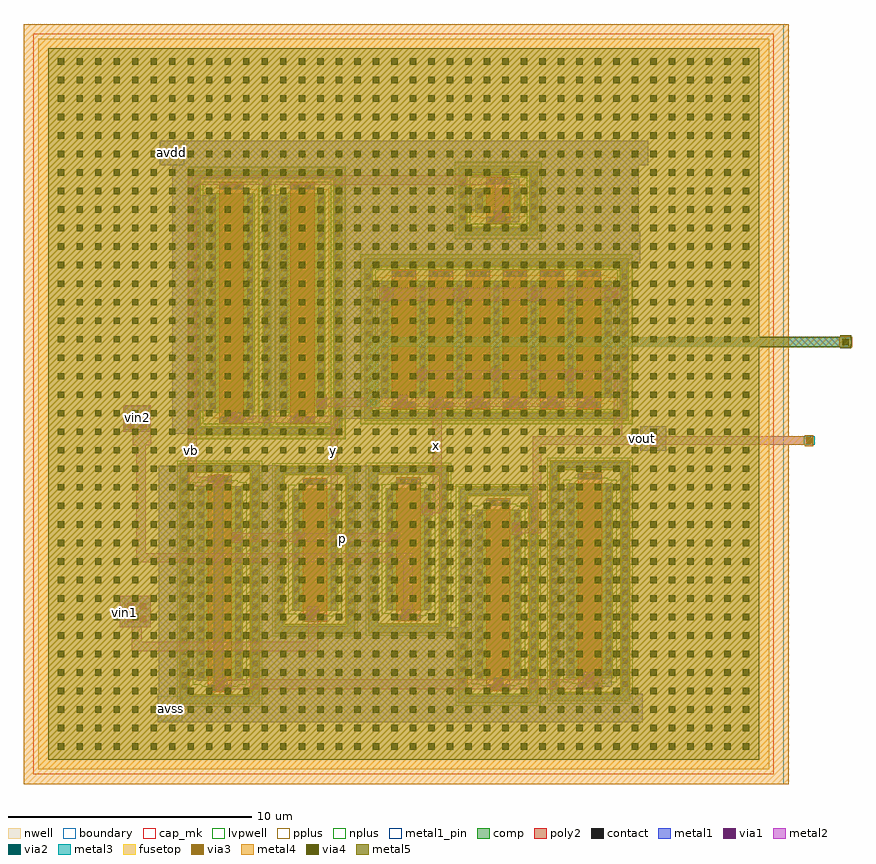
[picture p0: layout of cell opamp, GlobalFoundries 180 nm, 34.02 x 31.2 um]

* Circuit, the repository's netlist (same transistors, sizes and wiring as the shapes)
** sch_path: /foss/designs/libs/snn_analog/sch/opamp/opamp.sch
.subckt opamp avdd avss vin1 vin2 vout
*.PININFO avdd:B avss:B vin1:I vin2:I vout:O
M1 y vin1 net1 avss nfet_03v3 L=1u W=5u nf=1
M2 x vin2 net1 avss nfet_03v3 L=1u W=5u nf=1
M3 y y avdd avdd pfet_03v3 L=1u W=9u nf=1
M4 x y avdd avdd pfet_03v3 L=1u W=9u nf=1
M5 net1 vb avss avss nfet_03v3 L=1u W=8u nf=1
M6 vout x avdd avdd pfet_03v3 L=1u W=28.8u nf=6
M7 vout vb avss avss nfet_03v3 L=1u W=7u nf=1
M8 vb vb avss avss nfet_03v3 L=1u W=8u nf=1
M9 vb vb avdd avdd pfet_03v3 L=1u W=1u nf=1
XC1 x vout cap_mim_2f0fF c_width=30e-6 c_length=30e-6
.ends

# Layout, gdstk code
import gdstk
lib = gdstk.Library(unit=1e-6, precision=1e-09)
def R(c, l, rs):  # rectangles x0, y0, x1, y1
    for r in rs: c.add(gdstk.rectangle(r[:2], r[2:], *l))
def A(c, l, x, y, w, h, nx, ny, dx, dy):  # array of equal rectangles
    R(c, l, [(x+i*dx, y+j*dy, x+i*dx+w, y+j*dy+h) for i in range(nx) for j in range(ny)])
boundary = (0, 0)
nwell = (21, 0)
comp = (22, 0)
poly2 = (30, 0)
pplus = (31, 0)
nplus = (32, 0)
contact = (33, 0)
metal1 = (34, 0)
metal1_pin = (34, 10)
via1 = (35, 0)
metal2 = (36, 0)
via2 = (38, 0)
via3 = (40, 0)
via4 = (41, 0)
metal3 = (42, 0)
metal4 = (46, 0)
fusetop = (75, 0)
metal5 = (81, 0)
cap_mk = (117, 5)
lvpwell = (204, 0)

opamp = lib.new_cell('opamp')
R(opamp, boundary, [(0,0,31.2,31.2), (6.6,3.48,9.5,12.98), (18.035,3.515,20.935,12.015), (21.795,3.59,24.695,13.09), (10.515,6.37,13.415,12.87), (14.345,6.39,17.245,12.89), (7.09,14.5,9.99,25), (9.99,14.5,12.89,25), (14.16,15.1,24.66,21.4), (18.035,22.7,20.935,25.2)])
R(opamp, nwell, [(6.79,14.2,10.29,25.3), (9.69,14.2,13.19,25.3), (13.86,14.8,24.96,21.7), (17.735,22.4,21.235,25.5)])
R(opamp, comp, [(6.42,3.3,9.68,3.66), (17.855,3.335,21.115,3.695), (21.615,3.41,24.875,3.77), (6.42,3.66,6.78,12.8), (9.32,3.66,9.68,12.8), (17.855,3.695,18.215,11.835), (20.755,3.695,21.115,11.835), (21.615,3.77,21.975,12.91), (24.515,3.77,24.875,12.91), (7.11,4.23,8.99,12.23), (18.545,4.265,20.425,11.265), (22.305,4.34,24.185,12.34), (10.335,6.19,13.595,6.55), (14.165,6.21,17.425,6.57), (10.335,6.55,10.695,12.69), (13.235,6.55,13.595,12.69), (14.165,6.57,14.525,12.71), (17.065,6.57,17.425,12.71), (11.025,7.12,12.905,12.12), (14.855,7.14,16.735,12.14), (17.855,11.835,21.115,12.195), (10.335,12.69,13.595,13.05), (14.165,12.71,17.425,13.07), (6.42,12.8,9.68,13.16), (21.615,12.91,24.875,13.27), (6.91,14.32,10.17,14.68), (9.81,14.32,13.07,14.68), (6.91,14.68,7.27,24.82), (9.81,14.68,10.17,24.82), (9.81,14.68,10.17,24.82), (12.71,14.68,13.07,24.82), (13.98,14.92,24.84,15.28), (7.6,15.25,9.48,24.25), (10.5,15.25,12.38,24.25), (13.98,15.28,14.34,21.22), (24.48,15.28,24.84,21.22), (14.67,15.85,24.15,20.65), (13.98,21.22,24.84,21.58), (17.855,22.52,21.115,22.88), (17.855,22.88,18.215,25.02), (20.755,22.88,21.115,25.02), (18.545,23.45,20.425,24.45), (6.91,24.82,10.17,25.18), (9.81,24.82,13.07,25.18), (17.855,25.02,21.115,25.38)])
A(opamp, poly2, 15.11, 15.39, 1, 5.72, 6, 1, 1.52, 0)
R(opamp, poly2, [(7.55,3.77,8.55,12.69), (18.985,3.805,19.985,11.725), (22.745,3.88,23.745,12.8), (11.465,6.66,12.465,12.58), (15.295,6.68,16.295,12.6), (8.04,14.79,9.04,24.71), (10.94,14.79,11.94,24.71), (18.985,22.99,19.985,24.91)])
R(opamp, pplus, [(6.4,3.28,9.7,3.68), (17.835,3.315,21.135,3.715), (21.595,3.39,24.895,3.79), (6.4,3.68,6.81,3.785), (9.29,3.68,9.7,3.785), (17.835,3.715,18.245,3.82), (20.725,3.715,21.135,3.82), (6.39,3.785,6.81,12.675), (9.29,3.785,9.71,12.675), (21.595,3.79,22.005,3.895), (24.485,3.79,24.895,3.895), (17.825,3.82,18.245,11.71), (20.725,3.82,21.145,11.71), (21.585,3.895,22.005,12.785), (24.485,3.895,24.905,12.785), (10.315,6.17,13.615,6.57), (14.145,6.19,17.445,6.59), (17.445,6.19,17.825,6.695), (10.315,6.57,10.725,6.675), (13.205,6.57,13.615,6.675), (14.145,6.59,14.555,6.695), (17.035,6.59,17.445,6.695), (10.305,6.675,10.725,12.565), (13.205,6.675,13.625,12.565), (14.135,6.695,14.555,12.585), (17.035,6.695,17.455,12.585), (17.455,6.695,17.825,11.71), (17.455,11.71,17.835,12.215), (17.835,11.71,18.245,11.815), (20.725,11.71,21.135,11.815), (17.835,11.815,21.135,12.215), (10.315,12.565,10.725,12.67), (13.205,12.565,13.615,12.67), (14.145,12.585,14.555,12.69), (17.035,12.585,17.445,12.69), (10.315,12.67,13.615,13.07), (6.4,12.675,6.81,12.78), (9.29,12.675,9.7,12.78), (14.145,12.69,17.445,13.09), (6.4,12.78,9.7,13.18), (21.595,12.785,22.005,12.89), (24.485,12.785,24.895,12.89), (21.595,12.89,24.895,13.29), (7.81,15.02,9.27,15.09), (10.71,15.02,12.17,15.09), (7.44,15.09,9.64,24.41), (10.34,15.09,12.54,24.41), (14.88,15.62,23.94,15.69), (14.51,15.69,24.31,20.81), (14.88,20.81,23.94,20.88), (18.755,23.22,20.215,23.29), (18.385,23.29,20.585,24.61), (7.81,24.41,9.27,24.48), (10.71,24.41,12.17,24.48), (18.755,24.61,20.215,24.68)])
R(opamp, nplus, [(7.32,4,8.78,4.07), (18.755,4.035,20.215,4.105), (6.95,4.07,9.15,12.39), (18.385,4.105,20.585,11.425), (22.515,4.11,23.975,4.18), (22.145,4.18,24.345,12.5), (11.235,6.89,12.695,6.96), (15.065,6.91,16.525,6.98), (10.865,6.96,13.065,12.28), (14.695,6.98,16.895,12.3), (18.755,11.425,20.215,11.495), (11.235,12.28,12.695,12.35), (15.065,12.3,16.525,12.37), (7.32,12.39,8.78,12.46), (22.515,12.5,23.975,12.57), (6.75,14.16,10.33,14.79), (9.65,14.16,13.23,14.79), (13.82,14.76,25,15.39), (6.75,14.79,7.38,24.71), (9.65,14.79,10.28,24.71), (9.7,14.79,10.33,24.71), (12.6,14.79,13.23,24.71), (13.82,15.39,14.45,21.11), (24.37,15.39,25,21.11), (13.82,21.11,25,21.74), (17.695,22.36,21.275,22.99), (17.695,22.99,18.325,24.91), (20.645,22.99,21.275,24.91), (6.75,24.71,10.33,25.34), (9.65,24.71,13.23,25.34), (17.695,24.91,21.275,25.54)])
A(opamp, contact, 6.49, 3.89, 0.22, 0.22, 1, 19, 0, 0.47)
A(opamp, contact, 9.39, 3.89, 0.22, 0.22, 1, 19, 0, 0.47)
A(opamp, contact, 21.685, 4, 0.22, 0.22, 1, 19, 0, 0.47)
A(opamp, contact, 24.585, 4, 0.22, 0.22, 1, 19, 0, 0.47)
A(opamp, contact, 17.925, 4.13, 0.22, 0.22, 1, 16, 0, 0.47)
A(opamp, contact, 20.825, 4.13, 0.22, 0.22, 1, 16, 0, 0.47)
A(opamp, contact, 7.18, 4.36, 0.22, 0.22, 1, 17, 0, 0.47)
A(opamp, contact, 8.7, 4.36, 0.22, 0.22, 1, 17, 0, 0.47)
A(opamp, contact, 18.615, 4.365, 0.22, 0.22, 1, 15, 0, 0.47)
A(opamp, contact, 20.135, 4.365, 0.22, 0.22, 1, 15, 0, 0.47)
A(opamp, contact, 22.375, 4.47, 0.22, 0.22, 1, 17, 0, 0.47)
A(opamp, contact, 23.895, 4.47, 0.22, 0.22, 1, 17, 0, 0.47)
A(opamp, contact, 10.405, 6.925, 0.22, 0.22, 1, 12, 0, 0.47)
A(opamp, contact, 13.305, 6.925, 0.22, 0.22, 1, 12, 0, 0.47)
A(opamp, contact, 14.235, 6.945, 0.22, 0.22, 1, 12, 0, 0.47)
A(opamp, contact, 17.135, 6.945, 0.22, 0.22, 1, 12, 0, 0.47)
A(opamp, contact, 11.095, 7.395, 0.22, 0.22, 1, 10, 0, 0.47)
A(opamp, contact, 12.615, 7.395, 0.22, 0.22, 1, 10, 0, 0.47)
A(opamp, contact, 14.925, 7.415, 0.22, 0.22, 1, 10, 0, 0.47)
A(opamp, contact, 16.445, 7.415, 0.22, 0.22, 1, 10, 0, 0.47)
A(opamp, contact, 6.98, 14.94, 0.22, 0.22, 1, 21, 0, 0.47)
A(opamp, contact, 12.78, 14.94, 0.22, 0.22, 1, 21, 0, 0.47)
A(opamp, contact, 7.67, 15.41, 0.22, 0.22, 1, 19, 0, 0.47)
A(opamp, contact, 9.19, 15.41, 0.22, 0.22, 1, 19, 0, 0.47)
A(opamp, contact, 10.57, 15.41, 0.22, 0.22, 1, 19, 0, 0.47)
A(opamp, contact, 12.09, 15.41, 0.22, 0.22, 1, 19, 0, 0.47)
A(opamp, contact, 14.05, 15.555, 0.22, 0.22, 1, 12, 0, 0.47)
A(opamp, contact, 24.55, 15.555, 0.22, 0.22, 1, 12, 0, 0.47)
A(opamp, contact, 14.74, 16.025, 0.22, 0.22, 7, 10, 1.52, 0.47)
A(opamp, contact, 17.925, 23.135, 0.22, 0.22, 1, 4, 0, 0.47)
A(opamp, contact, 20.825, 23.135, 0.22, 0.22, 1, 4, 0, 0.47)
R(opamp, contact, [(7.705,3.84,7.925,4.06), (8.175,3.84,8.395,4.06), (19.14,3.875,19.36,4.095), (19.61,3.875,19.83,4.095), (22.9,3.95,23.12,4.17), (23.37,3.95,23.59,4.17), (11.62,6.73,11.84,6.95), (12.09,6.73,12.31,6.95), (15.45,6.75,15.67,6.97), (15.92,6.75,16.14,6.97), (19.14,11.435,19.36,11.655), (19.61,11.435,19.83,11.655), (11.62,12.29,11.84,12.51), (12.09,12.29,12.31,12.51), (15.45,12.31,15.67,12.53), (15.92,12.31,16.14,12.53), (7.705,12.4,7.925,12.62), (8.175,12.4,8.395,12.62), (22.9,12.51,23.12,12.73), (23.37,12.51,23.59,12.73), (8.195,14.86,8.415,15.08), (8.665,14.86,8.885,15.08), (11.095,14.86,11.315,15.08), (11.565,14.86,11.785,15.08), (9.88,14.94,10.1,15.16), (9.88,14.94,10.1,15.16), (9.88,15.41,10.1,15.63), (9.88,15.41,10.1,15.63), (15.265,15.46,15.485,15.68), (15.735,15.46,15.955,15.68), (16.785,15.46,17.005,15.68), (17.255,15.46,17.475,15.68), (18.305,15.46,18.525,15.68), (18.775,15.46,18.995,15.68), (19.825,15.46,20.045,15.68), (20.295,15.46,20.515,15.68), (21.345,15.46,21.565,15.68), (21.815,15.46,22.035,15.68), (22.865,15.46,23.085,15.68), (23.335,15.46,23.555,15.68), (9.88,15.88,10.1,16.1), (9.88,15.88,10.1,16.1), (9.88,16.35,10.1,16.57), (9.88,16.35,10.1,16.57), (9.88,16.82,10.1,17.04), (9.88,16.82,10.1,17.04), (9.88,17.29,10.1,17.51), (9.88,17.29,10.1,17.51), (9.88,17.76,10.1,17.98), (9.88,17.76,10.1,17.98), (9.88,18.23,10.1,18.45), (9.88,18.23,10.1,18.45), (9.88,18.7,10.1,18.92), (9.88,18.7,10.1,18.92), (9.88,19.17,10.1,19.39), (9.88,19.17,10.1,19.39), (9.88,19.64,10.1,19.86), (9.88,19.64,10.1,19.86), (9.88,20.11,10.1,20.33), (9.88,20.11,10.1,20.33), (9.88,20.58,10.1,20.8), (9.88,20.58,10.1,20.8), (15.265,20.82,15.485,21.04), (15.735,20.82,15.955,21.04), (16.785,20.82,17.005,21.04), (17.255,20.82,17.475,21.04), (18.305,20.82,18.525,21.04), (18.775,20.82,18.995,21.04), (19.825,20.82,20.045,21.04), (20.295,20.82,20.515,21.04), (21.345,20.82,21.565,21.04), (21.815,20.82,22.035,21.04), (22.865,20.82,23.085,21.04), (23.335,20.82,23.555,21.04), (9.88,21.05,10.1,21.27), (9.88,21.05,10.1,21.27), (9.88,21.52,10.1,21.74), (9.88,21.52,10.1,21.74), (9.88,21.99,10.1,22.21), (9.88,21.99,10.1,22.21), (9.88,22.46,10.1,22.68), (9.88,22.46,10.1,22.68), (9.88,22.93,10.1,23.15), (9.88,22.93,10.1,23.15), (19.14,23.06,19.36,23.28), (19.61,23.06,19.83,23.28), (9.88,23.4,10.1,23.62), (9.88,23.4,10.1,23.62), (18.615,23.605,18.835,23.825), (20.135,23.605,20.355,23.825), (9.88,23.87,10.1,24.09), (9.88,23.87,10.1,24.09), (18.615,24.075,18.835,24.295), (20.135,24.075,20.355,24.295), (9.88,24.34,10.1,24.56), (9.88,24.34,10.1,24.56), (8.195,24.42,8.415,24.64), (8.665,24.42,8.885,24.64), (11.095,24.42,11.315,24.64), (11.565,24.42,11.785,24.64), (19.14,24.62,19.36,24.84), (19.61,24.62,19.83,24.84)])
A(opamp, metal1, 15.12, 15.455, 0.98, 0.23, 6, 2, 1.52, 5.36)
A(opamp, metal1, 14.735, 15.86, 0.23, 4.78, 7, 1, 1.52, 0)
R(opamp, metal1, [(5.505,2.535,25.415,3.485), (6.485,3.365,9.615,3.595), (17.92,3.4,21.05,3.63), (21.68,3.475,24.81,3.705), (5.505,3.485,6.78,3.695), (9.39,3.485,25.415,3.605), (6.485,3.595,6.715,12.865), (9.385,3.595,9.615,12.865), (9.39,3.605,18.145,3.695), (20.825,3.605,25.415,3.695), (17.92,3.63,18.15,11.9), (20.82,3.63,21.05,11.9), (5.55,3.695,6.625,4.3), (9.49,3.695,18.03,4.505), (21.68,3.705,21.91,12.975), (24.58,3.705,24.81,12.975), (7.56,3.835,8.54,4.065), (19.305,3.86,19.695,4.355), (18.995,3.87,19.975,4.1), (7.845,3.905,8.355,3.96), (22.755,3.945,23.735,4.175), (7.805,3.96,8.355,4.295), (23.35,4,24.15,4.125), (22.95,4.125,24.15,4.515), (7.175,4.24,7.405,12.22), (8.695,4.24,8.925,12.22), (18.61,4.275,18.84,11.255), (20.13,4.275,20.36,11.255), (7.805,4.295,8.19,12.235), (5.55,4.3,7.355,12.07), (22.37,4.35,22.6,12.33), (23.89,4.35,24.12,12.33), (21.665,4.455,22.52,12.12), (9.49,4.505,18.78,6.285), (23.35,4.515,24.15,4.6), (10.4,6.255,13.53,6.485), (14.23,6.275,17.36,6.505), (9.47,6.285,18.78,6.44), (3.935,6.435,5.225,7.72), (9.47,6.44,10.575,7.22), (13.3,6.44,14.56,12.315), (17.93,6.44,18.78,11.06), (10.4,6.485,10.63,12.755), (13.3,6.485,13.53,12.755), (14.23,6.505,14.46,12.775), (17.13,6.505,17.36,12.775), (11.475,6.725,12.455,6.955), (15.525,6.735,16.035,7.165), (15.305,6.745,16.285,6.975), (11.615,6.835,12.145,7.29), (11.09,7.13,11.32,12.11), (12.61,7.13,12.84,12.11), (14.92,7.15,15.15,12.13), (16.44,7.15,16.67,12.13), (9.49,7.22,10.575,12), (3.94,7.72,5.215,7.73), (11.1,9.88,11.535,10.36), (8.54,9.895,8.98,10.345), (14.925,9.895,15.36,9.935), (14.92,9.935,15.36,10.305), (20.03,10.23,20.44,10.72), (14.925,10.305,15.36,10.345), (12.545,11,12.95,11.325), (16.355,11.04,16.79,11.555), (18.995,11.43,19.975,11.66), (17.92,11.9,21.05,12.13), (9.47,12,10.575,13.09), (5.55,12.07,6.625,13.075), (7.755,12.235,8.27,12.6), (11.475,12.285,12.455,12.515), (15.305,12.305,16.285,12.535), (13.455,12.315,14.56,13.075), (7.56,12.395,8.54,12.625), (22.755,12.505,23.735,12.735), (7.805,12.6,8.19,12.61), (10.4,12.755,13.53,12.985), (14.23,12.775,17.36,13.005), (6.485,12.865,9.615,13.095), (21.68,12.975,24.81,13.205), (25.31,13.69,26.385,14.695), (6.11,14.37,7.09,15.325), (6.975,14.385,10.105,14.615), (9.875,14.385,13.005,14.615), (4.09,14.455,5.22,15.54), (6.975,14.615,7.205,24.885), (9.875,14.615,10.105,24.885), (9.875,14.615,10.105,24.885), (12.775,14.615,13.005,24.885), (8.05,14.855,9.03,15.085), (10.95,14.855,11.93,15.085), (8.385,14.92,8.75,14.955), (8.385,14.955,9.42,15.235), (11.14,14.955,11.545,15.27), (14.045,14.985,24.775,15.215), (12.89,15,14.165,15.9), (14.045,15.215,14.275,21.285), (24.545,15.215,24.775,21.285), (8.385,15.235,8.75,15.26), (9.14,15.235,9.42,15.53), (7.665,15.26,7.895,24.24), (9.185,15.26,9.415,24.24), (10.565,15.26,10.795,24.24), (12.085,15.26,12.315,24.24), (9.905,15.27,10.09,15.335), (6.11,15.325,7.875,24.18), (9.905,15.335,10.83,24.2), (12.03,15.41,12.445,15.935), (15.36,15.445,15.745,15.46), (18.44,15.445,18.825,15.475), (19.925,15.445,20.335,15.925), (21.495,15.445,21.905,15.925), (23.025,15.445,23.475,15.925), (15.345,15.46,15.76,15.985), (18.4,15.475,18.865,15.87), (16.715,15.48,17.25,15.905), (18.44,15.87,18.825,15.91), (12.89,15.9,14.9,19.835), (23.85,15.95,24.8,20.6), (16.16,16.56,16.55,17.05), (19.17,16.565,19.595,17.05), (22.205,16.58,22.695,17.025), (17.66,19.79,18.255,20.355), (20.675,19.815,21.27,20.38), (12.89,19.835,15.195,20.4), (12.89,20.4,14.9,20.55), (12.89,20.55,14.165,21.36), (14.045,21.285,24.775,21.515), (12.89,21.36,17.99,21.375), (12.89,21.375,25.315,22.69), (17.92,22.585,21.05,22.815), (12.89,22.69,17.99,23.55), (20.94,22.69,25.26,25.135), (17.92,22.815,18.15,25.085), (20.82,22.815,21.05,25.085), (18.995,23.055,19.975,23.285), (19.72,23.065,20.355,23.175), (19.295,23.175,20.355,23.295), (19.295,23.295,19.78,23.54), (20.12,23.295,20.355,23.6), (18.61,23.46,18.84,24.44), (20.13,23.46,20.36,24.44), (12.89,23.55,18.85,24.4), (20.125,23.6,20.355,24.615), (6.11,24.18,7.09,25.045), (9.905,24.2,10.1,24.255), (12.89,24.4,17.99,25.045), (8.05,24.415,9.03,24.645), (10.95,24.415,11.93,24.645), (18.995,24.615,19.975,24.845), (19.97,24.615,20.355,24.62), (19.175,24.62,20.355,24.85), (6.975,24.885,10.105,25.115), (9.875,24.885,13.005,25.115), (6.11,25.045,17.99,25.135), (17.92,25.085,21.05,25.315), (6.11,25.135,25.26,25.41), (5.585,25.41,25.645,26.41)])
R(opamp, metal1_pin, [(5.515,2.6,6.515,3.6), (4.145,6.535,4.15,7.535), (25.385,13.695,25.39,14.695), (4.16,14.535,5.16,15.535), (5.585,25.41,6.585,26.41)])
R(opamp, via1, [(7.97,3.97,8.23,4.23), (19.37,3.97,19.63,4.23), (23.075,4.19,23.335,4.45), (4.255,6.65,4.515,6.91), (4.775,6.65,5.035,6.91), (15.645,6.835,15.905,7.095), (11.75,6.915,12.01,7.175), (4.255,7.17,4.515,7.43), (4.775,7.17,5.035,7.43), (8.63,9.99,8.89,10.25), (11.19,9.99,11.45,10.25), (15.01,9.99,15.27,10.25), (20.115,10.345,20.375,10.605), (12.615,11.05,12.875,11.31), (16.45,11.165,16.71,11.425), (7.88,12.285,8.14,12.545), (25.775,13.97,26.035,14.23), (4.27,14.595,4.53,14.855), (4.79,14.595,5.05,14.855), (8.455,14.965,8.715,15.225), (11.21,14.975,11.47,15.235), (12.105,15.54,12.365,15.8), (18.5,15.54,18.76,15.8), (19.995,15.54,20.255,15.8), (21.565,15.54,21.825,15.8), (23.095,15.54,23.355,15.8), (15.42,15.545,15.68,15.805), (16.845,15.545,17.105,15.805), (16.215,16.675,16.475,16.935), (19.265,16.675,19.525,16.935), (22.32,16.675,22.58,16.935), (14.78,19.96,15.04,20.22), (17.835,19.97,18.095,20.23), (20.84,19.97,21.1,20.23), (24.155,19.97,24.415,20.23), (19.405,23.225,19.665,23.485)])
R(opamp, metal2, [(7.895,3.845,8.305,3.895), (7.895,3.895,23.41,4.305), (7.895,4.305,8.305,4.39), (23,4.305,23.41,4.605), (4.44,5.44,7.84,5.445), (8.39,5.44,12.085,5.445), (4.44,5.445,12.085,5.85), (4.44,5.85,4.85,6.435), (11.675,5.85,12.085,6.835), (3.935,6.435,5.225,7.72), (15.525,6.73,16.035,7.165), (11.615,6.835,12.145,7.29), (15.585,7.165,15.97,9.095), (4.62,9.095,15.97,9.48), (4.62,9.48,5.005,13.9), (15.585,9.48,15.97,9.49), (11.1,9.88,11.535,9.94), (8.54,9.895,8.98,9.94), (14.925,9.895,15.36,9.94), (8.54,9.94,15.46,10.3), (20.03,10.23,20.44,10.3), (8.54,10.3,8.98,10.345), (11.1,10.3,11.535,10.36), (14.925,10.3,15.36,10.345), (20.03,10.3,21.25,10.65), (20.03,10.65,20.44,10.72), (20.9,10.65,21.25,13.925), (12.545,11,12.95,11.325), (16.355,11.04,16.79,11.105), (16.35,11.105,17.17,11.49), (12.605,11.325,12.885,14.825), (16.355,11.49,17.17,11.555), (16.785,11.555,17.17,15.48), (7.835,12.17,8.22,12.175), (7.805,12.175,8.22,12.225), (6.73,12.225,8.22,12.61), (6.73,12.61,7.115,24.61), (7.805,12.61,8.22,12.66), (7.835,12.66,8.22,12.72), (25.7,13.87,26.11,13.925), (32.075,13.875,32.425,13.925), (4.47,13.9,5.23,14.285), (20.9,13.925,32.425,14.275), (22.275,14.275,22.625,14.295), (24.22,14.275,24.57,16.61), (25.7,14.275,26.11,14.36), (32.075,14.275,32.425,14.325), (4.47,14.285,5.22,14.455), (4.09,14.455,5.22,15.54), (11.185,14.825,12.885,14.835), (8.445,14.835,12.885,14.92), (8.385,14.92,12.885,15.105), (8.385,15.105,11.545,15.115), (12.1,15.105,12.885,15.115), (8.385,15.115,8.75,15.26), (11.14,15.115,11.545,15.27), (8.445,15.26,8.725,15.29), (12.03,15.41,12.445,15.48), (14.155,15.43,14.57,15.48), (18.445,15.435,18.82,15.445), (18.405,15.445,18.865,15.48), (19.925,15.445,20.335,15.48), (21.495,15.445,21.905,15.48), (23.025,15.445,23.475,15.48), (15.345,15.46,15.76,15.48), (12.005,15.48,23.475,15.865), (12.03,15.865,12.445,15.935), (14.155,15.865,14.57,15.915), (15.32,15.865,17.25,15.87), (18.405,15.865,18.865,15.91), (19.925,15.865,20.335,15.925), (21.495,15.865,21.905,15.925), (23.025,15.865,23.475,15.925), (15.345,15.87,15.76,15.985), (16.715,15.87,17.25,15.905), (22.275,16.535,22.625,16.58), (16.16,16.56,16.55,16.63), (19.17,16.565,19.595,16.63), (22.205,16.58,22.695,16.61), (22.09,16.61,24.57,16.63), (16.13,16.63,24.57,16.96), (16.13,16.96,22.695,16.98), (16.16,16.98,16.55,17.05), (19.17,16.98,19.595,17.05), (22.205,16.98,22.695,17.025), (14.6,19.835,24.53,20.365), (19.345,23.115,19.73,24.61), (6.73,24.61,19.73,24.995)])
R(opamp, via2, [(32.12,13.97,32.38,14.23), (14.23,15.54,14.49,15.8)])
R(opamp, via3, [(32.12,13.97,32.38,14.23), (33.615,18.015,33.875,18.275)])
A(opamp, via4, 1.41, 1.41, 0.26, 0.26, 38, 38, 0.76, 0.76)
R(opamp, via4, [(33.62,18.02,33.88,18.28)])
R(opamp, metal3, [(32.025,13.925,32.475,14.275), (14.105,15.48,14.62,15.865), (14.17,15.865,14.555,17.955), (14.17,17.955,33.99,18.34)])
R(opamp, metal4, [(0,0,31.4,31.2), (32.075,13.875,32.425,13.925), (30.375,13.925,32.425,14.275), (32.075,14.275,32.425,14.325), (33.555,17.905,33.94,17.93), (33.48,17.93,34.02,18.37), (33.555,18.37,33.94,18.39)])
R(opamp, fusetop, [(0.6,0.6,30.6,30.6)])
R(opamp, metal5, [(1,1,30.2,30.2), (33.53,17.88,33.97,17.93), (29.53,17.93,33.97,18.37), (33.53,18.37,33.97,18.42)])
R(opamp, cap_mk, [(0.4,0.4,30.8,30.8)])
R(opamp, lvpwell, [(6.3,3.18,9.8,13.28), (17.735,3.215,21.235,12.315), (21.495,3.29,24.995,13.39), (10.215,6.07,13.715,13.17), (14.045,6.09,17.545,13.19)])
opamp.add(gdstk.Label('x', (16.94,13.915), layer=36, texttype=0))
opamp.add(gdstk.Label('y', (12.725,13.71), layer=36, texttype=0))
opamp.add(gdstk.Label('p', (13.09,10.08), layer=36, texttype=0))
opamp.add(gdstk.Label('vb', (6.89,13.7), layer=36, texttype=0))
opamp.add(gdstk.Label('avdd', (6.085,25.91), layer=34, texttype=10))
opamp.add(gdstk.Label('avss', (6.015,3.1), layer=34, texttype=10))
opamp.add(gdstk.Label('vin1', (4.147,7.035), layer=34, texttype=10))
opamp.add(gdstk.Label('vin2', (4.66,15.035), layer=34, texttype=10))
opamp.add(gdstk.Label('vout', (25.387,14.195), layer=34, texttype=10))

lib.write_gds('opamp.gds')
